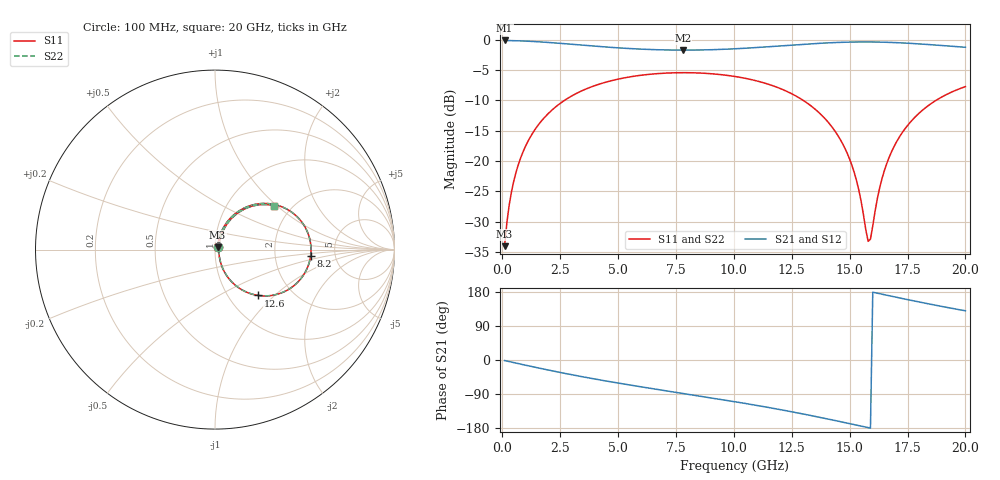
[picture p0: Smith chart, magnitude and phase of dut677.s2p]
! Touchstone file exported from HFSS 2026.1.0
!  File:  C:/ffzhzh/LocalFiles/Ansys_Project_Files/temp_train_TSV_RDL_677_1783133139_35180.aedt
!  Generated:  10:56:03 AM Jul  4, 2026
!  Design:  TSV_RDL
!  Project:  temp_train_TSV_RDL_677_1783133139_35180
! Variables:
!  h_bsmrdl = 3.63um
!  h_ox = 20um
!  h_rdl = 5um
!  h_sub = 57.97um
!  h_tmrdl = 5.64um
!  h_tsv = 57.97um
!  h_via = 3um
!  l_bsmrdl = 169.69um
!  l_sub = 4030.7um
!  l_tmrdl = 754.39um
!  m_sub = 200um
!  pitch = 50.95um
!  r_tsv = 9.83um
!  s_tmrdl = 10um
!  w_bsmrdl = 11.49um
!  w_sub = 500um
!  w_tmrdl = 23.2um
!  x_tsv_center1 = 765.99um
!  x_tsv_center2 = 947.17um
!  x_tsv_center3 = 1724.76um
!  x_tsv_center4 = 1905.94um
!  x_tsv_center5 = 2683.53um
!  x_tsv_center6 = 2864.71um
# GHz S MA R 50.000000
! Terminal data exported
! Port[1] = TM_RDL1_1_T1
! Port[2] = TM_RDL5_1_T1
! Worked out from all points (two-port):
!   200 points, 100 MHz to 20 GHz, reference 50 ohm
!   highest |S21| = -0.12 dB at 100 MHz (marker M1); lowest = -1.7 dB at 7.8 GHz (marker M2)
!   |S21| within 3 dB of the highest: start of sweep to end of sweep
!   lowest |S11| = -34.0 dB at 100 MHz (marker M3), VSWR 1.04, Z = 51.4 + j1.42 ohm
!   |S11| at or under -10 dB: start of sweep to 2.687 GHz; 13 GHz to 18.73 GHz (5.735 GHz wide, 36.2 % of centre)
!   |S22| runs from -34.0 to -5.4 dB; largest |S21 - S12| = 3.2e-14
!   S11 on the Smith chart (normalised r, x): 100 MHz: 1.03, +0.03; 8.2 GHz: 3.26, -0.31; 12.6 GHz: 1.36, -0.79; 20 GHz: 1.63, +0.96
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0.1  0.01987 44.1  0.986 -1.4  0.986 -1.4  0.01987 44.1
! Gamma 0 0 0 0
! Port Impedance 50 0 50 0
0.3  0.04361 65.6  0.9841 -4.2  0.9841 -4.2  0.04361 65.6
0.5  0.06892 69.9  0.9821 -6.9  0.9821 -6.9  0.06892 69.9
1.1  0.1443 68.1  0.9723 -15.0  0.9723 -15.0  0.1443 68.1
2.1  0.2585 57.6  0.946 -27.9  0.946 -27.9  0.2585 57.6
3.5  0.3841 42.0  0.9004 -44.7  0.9004 -44.7  0.3841 42.0
6.8  0.527 9.3  0.8258 -78.7  0.8258 -78.7  0.527 9.3
7.8  0.535 0.1  0.8208 -88.2  0.8208 -88.2  0.535 0.1
8.2  0.534 -3.6  0.8214 -92.0  0.8214 -92.0  0.534 -3.6
10.1  0.4959 -21.4  0.8429 -110.6  0.8429 -110.6  0.4959 -21.4
12.6  0.3504 -46.8  0.9056 -137.8  0.9056 -137.8  0.3504 -46.8
13.4  0.2784 -55.3  0.927 -147.4  0.927 -147.4  0.2784 -55.2
14.3  0.184 -64.2  0.9464 -158.8  0.9464 -158.8  0.1841 -64.0
14.9  0.1154 -67.8  0.9548 -166.6  0.9548 -166.6  0.1155 -67.5
15.4  0.05737 -63.0  0.9583 -173.2  0.9583 -173.2  0.05754 -62.6
15.8  0.02178 -11.7  0.9586 -178.5  0.9586 -178.5  0.02221 -11.5
15.9  0.02272 18.8  0.9583 -179.8  0.9583 -179.8  0.02314 18.5
16.3  0.06039 62.8  0.9557 174.9  0.9557 174.9  0.06054 62.5
16.7  0.1065 66.8  0.951 169.7  0.951 169.7  0.1066 66.6
17.3  0.1745 63.8  0.9403 161.9  0.9403 161.9  0.1745 63.7
18  0.2481 57.3  0.9236 153.1  0.9236 153.1  0.2482 57.2
20  0.4104 36.7  0.8665 129.9  0.8665 129.9  0.4105 36.7
